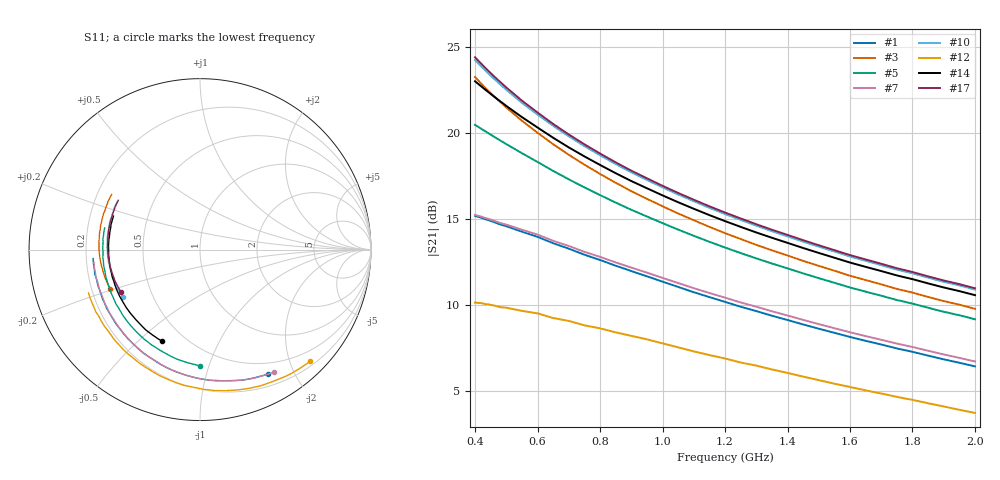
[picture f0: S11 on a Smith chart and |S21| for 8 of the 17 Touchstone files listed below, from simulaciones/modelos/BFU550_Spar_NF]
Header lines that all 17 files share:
! Noise Parameter Data File
! Device data file deembeded for feedlines and parallel
! Feed-files: PR047V01_250413_Feed1.s2p, PR047V01_250413_Feed2.s2p
! Parallel-file: PR047V01_250413_Par.s2p
# MHz S MA R 50
!  Freq-MHz  S11-mag  S11-arg  S21-mag  S21-arg  S12-mag  S12-arg  S22-mag  S22-arg
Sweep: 400 MHz to 2 GHz
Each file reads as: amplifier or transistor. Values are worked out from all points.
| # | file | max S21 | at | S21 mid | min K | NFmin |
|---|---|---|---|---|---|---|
| 1 | BFU550_03V3_002mA_NF_SP.s2p | 15.2 dB | 400 MHz | 10.8 dB at 1.1 GHz | 0.14 | 0.50 dB |
| 2 | BFU550_03V3_005mA_NF_SP.s2p | 20.4 dB | 400 MHz | 13.9 dB at 1.1 GHz | 0.25 | 0.59 dB |
| 3 | BFU550_03V3_025mA_NF_SP.s2p | 23.3 dB | 400 MHz | 14.9 dB at 1.1 GHz | 0.69 | 1.07 dB |
| 4 | BFU550_05V0_003mA_NF_SP.s2p | 17.8 dB | 400 MHz | 12.5 dB at 1.1 GHz | 0.18 | 0.53 dB |
| 5 | BFU550_05V0_005mA_NF_SP.s2p | 20.5 dB | 400 MHz | 14.0 dB at 1.1 GHz | 0.25 | 0.57 dB |
| 6 | BFU550_08V0_001mA_NF_SP.s2p | 10.1 dB | 400 MHz | 7.3 dB at 1.1 GHz | 0.11 | 0.41 dB |
| 7 | BFU550_08V0_002mA_NF_SP.s2p | 15.2 dB | 400 MHz | 11.0 dB at 1.1 GHz | 0.14 | 0.52 dB |
| 8 | BFU550_08V0_003mA_NF_SP.s2p | 17.8 dB | 400 MHz | 12.6 dB at 1.1 GHz | 0.18 | 0.53 dB |
| 9 | BFU550_08V0_005mA_NF_SP.s2p | 20.5 dB | 400 MHz | 14.2 dB at 1.1 GHz | 0.25 | 0.60 dB |
| 10 | BFU550_08V0_025mA_NF_SP.s2p | 24.2 dB | 400 MHz | 16.0 dB at 1.1 GHz | 0.65 | 1.10 dB |
| 11 | BFU550_08V0_035mA_NF_SP.s2p | 24.1 dB | 400 MHz | 15.8 dB at 1.1 GHz | 0.73 | 1.28 dB |
| 12 | BFU550_12V0_001mA_NF_SP.s2p | 10.1 dB | 400 MHz | 7.3 dB at 1.1 GHz | 0.11 | 0.45 dB |
| 13 | BFU550_12V0_003mA_NF_SP.s2p | 17.8 dB | 400 MHz | 12.7 dB at 1.1 GHz | 0.18 | 0.55 dB |
| 14 | BFU550_12V0_010mA_NF_SP.s2p | 23.0 dB | 400 MHz | 15.6 dB at 1.1 GHz | 0.39 | 0.76 dB |
| 15 | BFU550_12V0_015mA_NF_SP.s2p | 23.8 dB | 400 MHz | 16.0 dB at 1.1 GHz | 0.50 | 0.91 dB |
| 16 | BFU550_12V0_025mA_NF_SP.s2p | 24.4 dB | 400 MHz | 16.2 dB at 1.1 GHz | 0.62 | 1.14 dB |
| 17 | BFU550_12V0_035mA_NF_SP.s2p | 24.4 dB | 400 MHz | 16.1 dB at 1.1 GHz | 0.70 | 1.35 dB |
